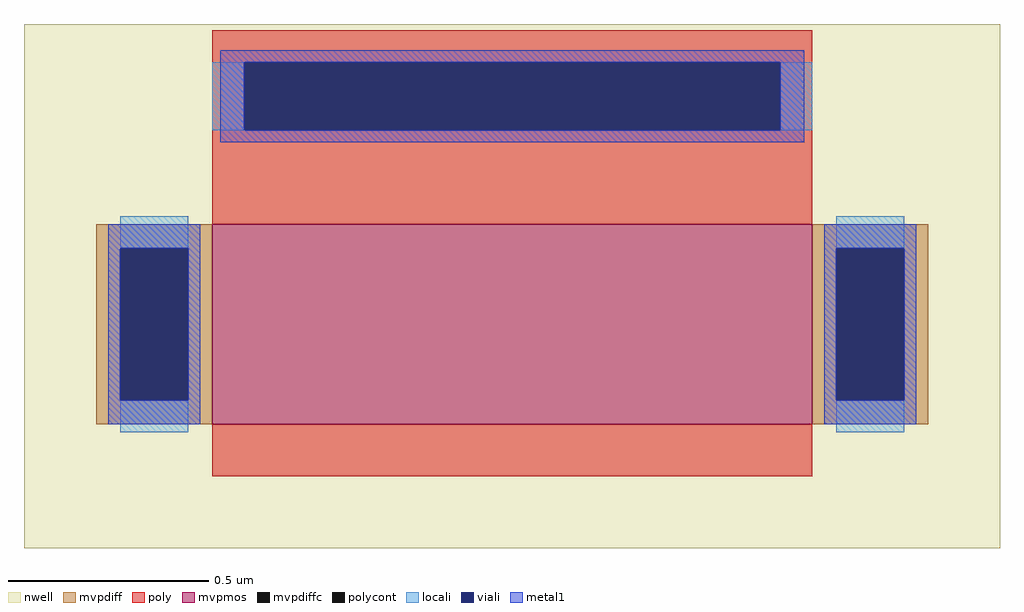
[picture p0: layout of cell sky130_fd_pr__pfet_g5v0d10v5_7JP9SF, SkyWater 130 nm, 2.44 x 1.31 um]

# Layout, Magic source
magic
tech sky130A
magscale 1 2
<< nwell >>
rect -244 -148 244 114
<< mvpmos >>
rect -150 -86 150 14
<< mvpdiff >>
rect -208 2 -150 14
rect -208 -74 -196 2
rect -162 -74 -150 2
rect -208 -86 -150 -74
rect 150 2 208 14
rect 150 -74 162 2
rect 196 -74 208 2
rect 150 -86 208 -74
<< mvpdiffc >>
rect -196 -74 -162 2
rect 162 -74 196 2
<< poly >>
rect -150 95 150 111
rect -150 61 -134 95
rect 134 61 150 95
rect -150 14 150 61
rect -150 -112 150 -86
<< polycont >>
rect -134 61 134 95
<< locali >>
rect -150 61 -134 95
rect 134 61 150 95
rect -196 2 -162 18
rect -196 -90 -162 -74
rect 162 2 196 18
rect 162 -90 196 -74
<< viali >>
rect -134 61 134 95
rect -196 -74 -162 2
rect 162 -74 196 2
<< metal1 >>
rect -146 95 146 101
rect -146 61 -134 95
rect 134 61 146 95
rect -146 55 146 61
rect -202 2 -156 14
rect -202 -74 -196 2
rect -162 -74 -156 2
rect -202 -86 -156 -74
rect 156 2 202 14
rect 156 -74 162 2
rect 196 -74 202 2
rect 156 -86 202 -74
<< properties >>
string gencell sky130_fd_pr__pfet_g5v0d10v5
string library sky130
string parameters w 0.5 l 1.5 m 1 nf 1 diffcov 100 polycov 100 guard 0 glc 1 grc 1 gtc 1 gbc 1 tbcov 100 rlcov 100 topc 1 botc 0 poverlap 0 doverlap 1 lmin 0.50 wmin 0.42 compatible {sky130_fd_pr__pfet_01v8  sky130_fd_pr__pfet_01v8_lvt sky130_fd_pr__pfet_01v8_hvt  sky130_fd_pr__pfet_g5v0d10v5} full_metal 1 viasrc 100 viadrn 100 viagate 100 viagb 0 viagr 0 viagl 0 viagt 0
<< end >>
